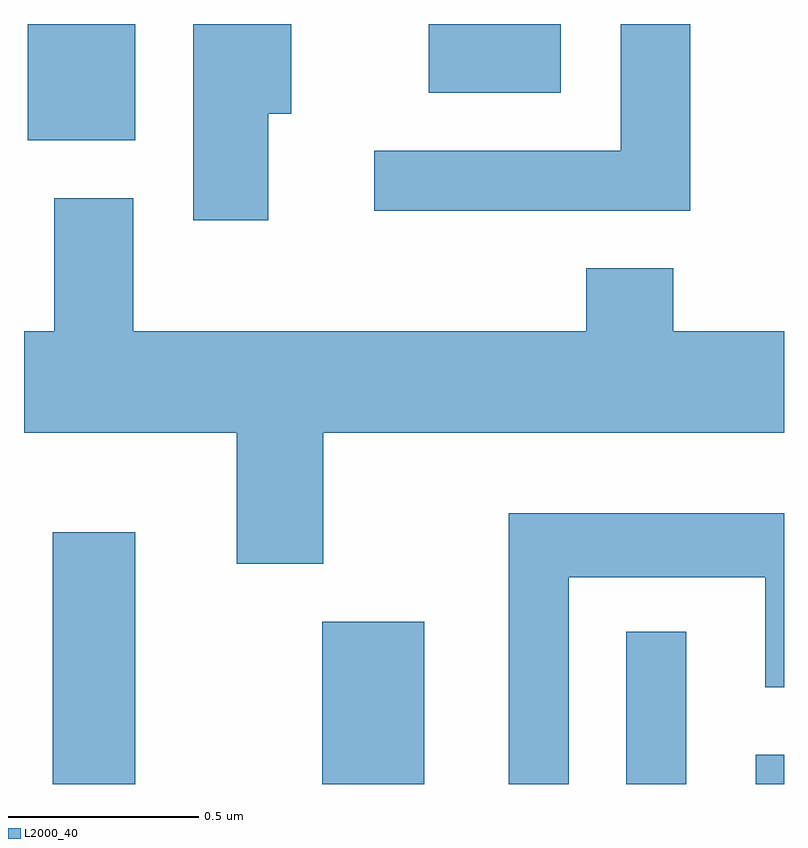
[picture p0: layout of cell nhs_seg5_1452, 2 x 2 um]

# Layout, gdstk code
import gdstk
lib = gdstk.Library(unit=1e-6, precision=1e-09)
def R(c, l, rs):  # rectangles x0, y0, x1, y1
    for r in rs: c.add(gdstk.rectangle(r[:2], r[2:], *l))
def P(c, l, *ps):  # polygons
    for p in ps: c.add(gdstk.Polygon(p, *l))
L2000_40 = (2000, 40)

nhs_seg5_1452 = lib.new_cell('nhs_seg5_1452')
R(nhs_seg5_1452, L2000_40, [(195.686,1478.072,195.904,1478.734), (196.396,1478.072,196.664,1478.499), (197.196,1478.072,197.354,1478.473), (197.536,1478.072,197.611,1478.149), (195.621,1479.766,195.904,1480.072), (196.676,1479.891,197.024,1480.072)])
P(nhs_seg5_1452, L2000_40, [(197.364,1480.072),(197.181,1480.072),(197.181,1479.739),(196.533,1479.739),(196.533,1479.581),(197.364,1479.581)],
  [(196.254,1479.836),(196.314,1479.836),(196.314,1480.072),(196.056,1480.072),(196.056,1479.556),(196.254,1479.556)],
  [(196.399,1478.996),(197.611,1478.996),(197.611,1479.264),(197.319,1479.264),(197.319,1479.429),(197.091,1479.429),(197.091,1479.264),(195.899,1479.264),(195.899,1479.614),(195.691,1479.614),(195.691,1479.264),(195.611,1479.264),(195.611,1478.996),(196.171,1478.996),(196.171,1478.651),(196.399,1478.651)],
  [(197.044,1478.616),(197.561,1478.616),(197.561,1478.326),(197.611,1478.326),(197.611,1478.784),(196.886,1478.784),(196.886,1478.072),(197.044,1478.072)])

lib.write_gds('nhs_seg5_1452.gds')
